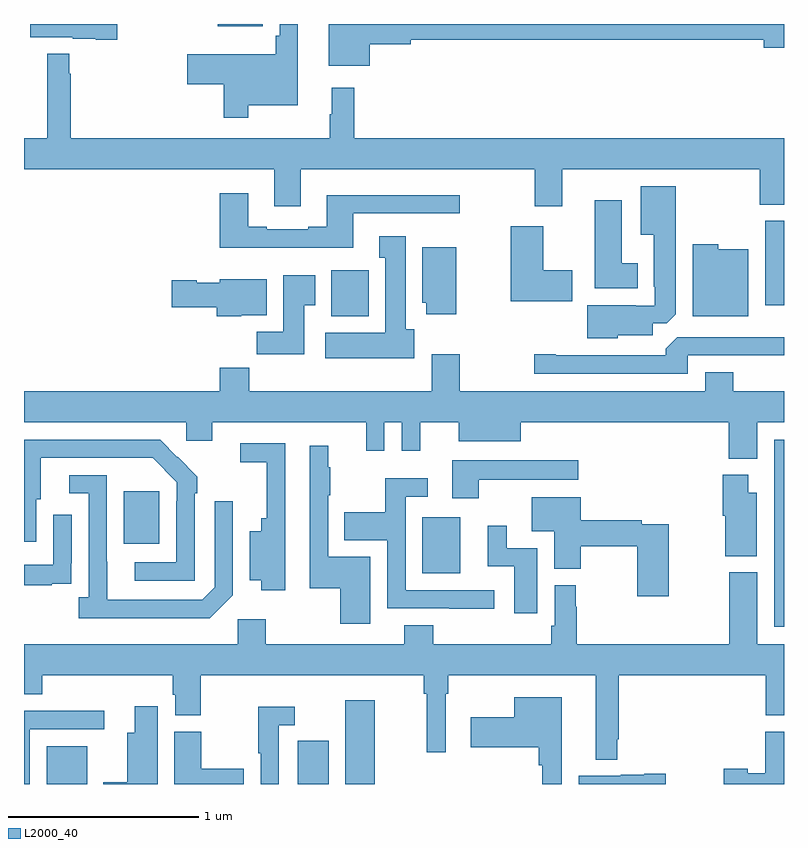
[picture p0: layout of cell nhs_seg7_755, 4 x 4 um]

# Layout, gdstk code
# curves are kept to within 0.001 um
import gdstk
lib = gdstk.Library(unit=1e-6, precision=1e-09)
def R(c, l, rs):  # rectangles x0, y0, x1, y1
    for r in rs: c.add(gdstk.rectangle(r[:2], r[2:], *l))
def P(c, l, *ps):  # polygons
    for p in ps: c.add(gdstk.Polygon(p, *l))
L2000_40 = (2000, 40)

nhs_seg7_755 = lib.new_cell('nhs_seg7_755')
R(nhs_seg7_755, L2000_40, [(167.12,1044,167.332,1044.199), (168.44,1044,168.604,1044.228), (168.692,1044,168.847,1044.442), (170.949,1044.828,171,1045.812), (169.097,1045.109,169.297,1045.405), (167.525,1045.265,167.713,1045.54), (168.617,1046.462,168.814,1046.704), (170.9,1046.52,171,1046.964), (168.02,1047.989,168.256,1048)])
P(nhs_seg7_755, L2000_40, [(167.491,1048),(167.033,1048),(167.033,1047.929),(167.256,1047.929),(167.256,1047.923),(167.378,1047.923),(167.378,1047.917),(167.491,1047.917)],
  [(168.82,1047.893),(169.036,1047.893),(169.036,1047.916),(170.894,1047.916),(170.894,1047.874),(171,1047.874),(171,1048),(168.605,1048),(168.605,1047.779),(168.82,1047.779)],
  [(168.181,1047.572),(168.442,1047.572),(168.442,1048),(168.345,1048),(168.345,1047.937),(168.325,1047.937),(168.325,1047.841),(167.859,1047.841),(167.859,1047.683),(168.052,1047.683),(168.052,1047.507),(168.181,1047.507)],
  [(168.457,1047.236),(169.687,1047.236),(169.687,1047.042),(169.834,1047.042),(169.834,1047.236),(170.872,1047.236),(170.872,1047.049),(171,1047.049),(171,1047.4),(168.737,1047.4),(168.737,1047.664),(168.62,1047.664),(168.62,1047.524),(168.609,1047.524),(168.609,1047.4),(167.245,1047.4),(167.245,1047.737),(167.237,1047.737),(167.237,1047.844),(167.123,1047.844),(167.123,1047.4),(167,1047.4),(167,1047.236),(168.317,1047.236),(168.317,1047.042),(168.457,1047.042)],
  [(170.124,1046.363),(170.308,1046.363),(170.308,1046.424),(170.382,1046.424),(170.431,1046.473),(170.431,1047.145),(170.246,1047.145),(170.246,1046.891),(170.315,1046.891),(170.315,1046.617),(170.319,1046.617),(170.319,1046.517),(170.219,1046.517),(170.219,1046.521),(169.964,1046.521),(169.964,1046.345),(170.124,1046.345)],
  [(168.733,1047.003),(169.294,1047.003),(169.294,1047.1),(168.593,1047.1),(168.593,1046.932),(168.497,1046.932),(168.497,1046.919),(168.277,1046.919),(168.277,1046.932),(168.181,1046.932),(168.181,1047.109),(168.029,1047.109),(168.029,1046.822),(168.733,1046.822)],
  [(170.23,1046.74),(170.146,1046.74),(170.146,1047.073),(170.003,1047.073),(170.003,1046.609),(170.23,1046.609)],
  [(169.885,1046.703),(169.732,1046.703),(169.732,1046.935),(169.562,1046.935),(169.562,1046.54),(169.885,1046.54)],
  [(169.054,1046.394),(169.009,1046.394),(169.009,1046.884),(168.869,1046.884),(168.869,1046.771),(168.902,1046.771),(168.902,1046.374),(168.585,1046.374),(168.585,1046.24),(169.054,1046.24)],
  [(170.812,1046.815),(170.655,1046.815),(170.655,1046.842),(170.519,1046.842),(170.519,1046.462),(170.812,1046.462)],
  [(169.276,1046.824),(169.097,1046.824),(169.097,1046.532),(169.118,1046.532),(169.118,1046.472),(169.276,1046.472)],
  [(168.475,1046.521),(168.532,1046.521),(168.532,1046.677),(168.365,1046.677),(168.365,1046.38),(168.226,1046.38),(168.226,1046.262),(168.475,1046.262)],
  [(168.144,1046.468),(168.277,1046.468),(168.277,1046.656),(168.03,1046.656),(168.03,1046.638),(167.91,1046.638),(167.91,1046.651),(167.778,1046.651),(167.778,1046.509),(168.014,1046.509),(168.014,1046.462),(168.144,1046.462)],
  [(170.493,1046.256),(171,1046.256),(171,1046.352),(170.439,1046.352),(170.378,1046.29),(170.378,1046.256),(169.798,1046.256),(169.798,1046.261),(169.686,1046.261),(169.686,1046.16),(170.493,1046.16)],
  [(170.86,1045.904),(171,1045.904),(171,1046.068),(170.733,1046.068),(170.733,1046.167),(170.585,1046.167),(170.585,1046.068),(169.293,1046.068),(169.293,1046.263),(169.145,1046.263),(169.145,1046.068),(168.185,1046.068),(168.185,1046.192),(168.029,1046.192),(168.029,1046.068),(167,1046.068),(167,1045.904),(167.853,1045.904),(167.853,1045.806),(167.992,1045.806),(167.992,1045.904),(168.8,1045.904),(168.8,1045.755),(168.897,1045.755),(168.897,1045.904),(168.987,1045.904),(168.987,1045.755),(169.085,1045.755),(169.085,1045.904),(169.289,1045.904),(169.289,1045.805),(169.615,1045.805),(169.615,1045.904),(170.708,1045.904),(170.708,1045.712),(170.86,1045.712)],
  [(167.898,1045.529),(167.913,1045.529),(167.913,1045.617),(167.716,1045.812),(167,1045.812),(167,1045.275),(167.065,1045.275),(167.065,1045.5),(167.089,1045.5),(167.089,1045.716),(167.677,1045.716),(167.805,1045.587),(167.805,1045.487),(167.802,1045.487),(167.802,1045.167),(167.583,1045.167),(167.583,1045.071),(167.898,1045.071)],
  [(168.376,1045.295),(168.375,1045.295),(168.375,1045.794),(168.138,1045.794),(168.138,1045.693),(168.278,1045.693),(168.278,1045.399),(168.248,1045.399),(168.248,1045.33),(168.188,1045.33),(168.188,1045.073),(168.248,1045.073),(168.248,1045.019),(168.376,1045.019)],
  [(168.823,1045.195),(168.6,1045.195),(168.6,1045.519),(168.613,1045.519),(168.613,1045.667),(168.602,1045.667),(168.602,1045.78),(168.504,1045.78),(168.504,1045.03),(168.665,1045.03),(168.665,1044.843),(168.823,1044.843)],
  [(169.393,1045.601),(169.918,1045.601),(169.918,1045.705),(169.253,1045.705),(169.253,1045.503),(169.393,1045.503)],
  [(170.857,1045.534),(170.812,1045.534),(170.812,1045.627),(170.678,1045.627),(170.678,1045.413),(170.69,1045.413),(170.69,1045.199),(170.857,1045.199)],
  [(168.099,1044.993),(168.099,1045.489),(168.003,1045.489),(168.003,1045.035),(167.937,1044.969),(167.437,1044.969),(167.436,1045.626),(167.238,1045.626),(167.238,1045.53),(167.34,1045.53),(167.34,1044.982),(167.289,1044.982),(167.289,1044.872),(167.978,1044.872)],
  [(169.474,1045.02),(169.008,1045.02),(169.008,1045.512),(169.126,1045.512),(169.126,1045.609),(168.9,1045.609),(168.9,1045.43),(168.685,1045.43),(168.685,1045.283),(168.912,1045.283),(168.912,1044.924),(169.237,1044.924),(169.237,1044.923),(169.474,1044.923)],
  [(170.394,1045.368),(170.252,1045.368),(170.252,1045.388),(169.93,1045.388),(169.93,1045.51),(169.673,1045.51),(169.673,1045.331),(169.79,1045.331),(169.79,1045.134),(169.93,1045.134),(169.93,1045.252),(170.228,1045.252),(170.228,1044.987),(170.394,1044.987)],
  [(167.147,1045.053),(167.249,1045.053),(167.249,1045.162),(167.25,1045.162),(167.25,1045.417),(167.154,1045.417),(167.154,1045.155),(167,1045.155),(167,1045.047),(167.147,1045.047)],
  [(169.702,1045.242),(169.54,1045.242),(169.54,1045.36),(169.442,1045.36),(169.442,1045.146),(169.58,1045.146),(169.58,1044.9),(169.702,1044.9)],
  [(170.123,1044.235),(170.131,1044.235),(170.131,1044.572),(170.903,1044.572),(170.903,1044.361),(171,1044.361),(171,1044.736),(170.86,1044.736),(170.86,1045.114),(170.713,1045.114),(170.713,1044.736),(169.91,1044.736),(169.91,1044.932),(169.903,1044.932),(169.903,1045.045),(169.794,1045.045),(169.794,1044.832),(169.774,1044.832),(169.774,1044.736),(169.154,1044.736),(169.154,1044.835),(169.001,1044.835),(169.001,1044.736),(168.273,1044.736),(168.273,1044.868),(168.126,1044.868),(168.126,1044.736),(167,1044.736),(167,1044.473),(167.096,1044.473),(167.096,1044.572),(167.783,1044.572),(167.783,1044.471),(167.795,1044.471),(167.795,1044.361),(167.931,1044.361),(167.931,1044.572),(169.105,1044.572),(169.105,1044.476),(169.12,1044.476),(169.12,1044.168),(169.221,1044.168),(169.221,1044.476),(169.234,1044.476),(169.234,1044.572),(170.009,1044.572),(170.009,1044.128),(170.123,1044.128)],
  [(169.831,1044.457),(169.58,1044.457),(169.58,1044.352),(169.35,1044.352),(169.35,1044.194),(169.71,1044.194),(169.71,1044.098),(169.727,1044.098),(169.727,1044),(169.831,1044)],
  [(167.704,1044.409),(167.582,1044.409),(167.582,1044.271),(167.543,1044.271),(167.543,1044.01),(167.417,1044.01),(167.417,1044),(167.704,1044)],
  [(168.342,1044.309),(168.424,1044.309),(168.424,1044.406),(168.234,1044.406),(168.234,1044.163),(168.246,1044.163),(168.246,1044),(168.342,1044)],
  [(167.029,1044.288),(167.422,1044.288),(167.422,1044.386),(167,1044.386),(167,1044),(167.029,1044)],
  [(168.157,1044.08),(167.934,1044.08),(167.934,1044.276),(167.792,1044.276),(167.792,1044),(168.157,1044)],
  [(171,1044.276),(170.9,1044.276),(170.9,1044.057),(170.808,1044.057),(170.808,1044.08),(170.683,1044.08),(170.683,1044),(171,1044)],
  [(170.377,1044.055),(170.264,1044.055),(170.264,1044.049),(170.142,1044.049),(170.142,1044.043),(169.919,1044.043),(169.919,1044),(170.377,1044)])

lib.write_gds('nhs_seg7_755.gds')
